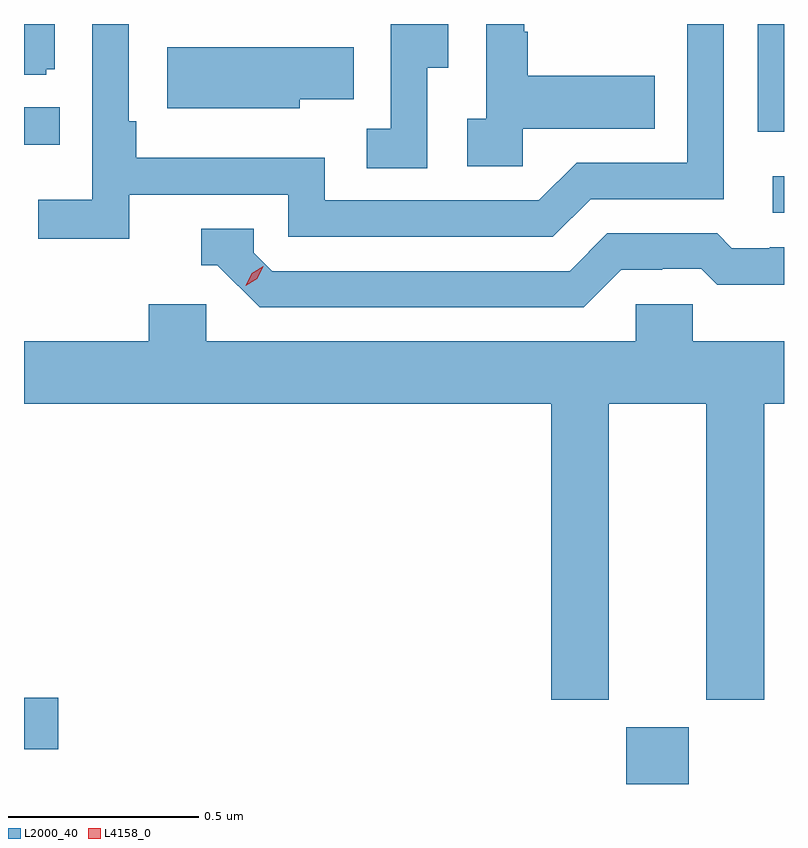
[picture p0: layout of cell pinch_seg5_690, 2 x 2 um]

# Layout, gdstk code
import gdstk
lib = gdstk.Library(unit=1e-6, precision=1e-09)
def R(c, l, rs):  # rectangles x0, y0, x1, y1
    for r in rs: c.add(gdstk.rectangle(r[:2], r[2:], *l))
def P(c, l, *ps):  # polygons
    for p in ps: c.add(gdstk.Polygon(p, *l))
L2000_40 = (2000, 40)
L4158_0 = (4158, 0)

pinch_seg5_690 = lib.new_cell('pinch_seg5_690')
R(pinch_seg5_690, L2000_40, [(1131.152,835.779,1131.316,835.929), (1129.567,835.871,1129.657,836.006), (1131.537,837.282,1131.567,837.378), (1129.567,837.461,1129.661,837.56), (1131.498,837.495,1131.567,837.779)])
P(pinch_seg5_690, L2000_40, [(1129.844,837.33),(1130.262,837.33),(1130.262,837.219),(1130.959,837.219),(1131.058,837.318),(1131.408,837.318),(1131.408,837.779),(1131.312,837.779),(1131.312,837.414),(1131.021,837.414),(1130.922,837.315),(1130.358,837.315),(1130.358,837.427),(1129.862,837.427),(1129.862,837.523),(1129.842,837.523),(1129.842,837.779),(1129.746,837.779),(1129.746,837.316),(1129.605,837.316),(1129.605,837.214),(1129.844,837.214)],
  [(1129.626,837.66),(1129.648,837.66),(1129.648,837.779),(1129.567,837.779),(1129.567,837.645),(1129.626,837.645)],
  [(1130.628,837.664),(1130.683,837.664),(1130.683,837.779),(1130.532,837.779),(1130.532,837.503),(1130.469,837.503),(1130.469,837.4),(1130.628,837.4)],
  [(1130.88,837.503),(1131.227,837.503),(1131.227,837.643),(1130.893,837.643),(1130.893,837.758),(1130.883,837.758),(1130.883,837.779),(1130.784,837.779),(1130.784,837.53),(1130.733,837.53),(1130.733,837.405),(1130.88,837.405)],
  [(1130.292,837.581),(1130.435,837.581),(1130.435,837.718),(1129.944,837.718),(1129.944,837.557),(1130.292,837.557)],
  [(1131.139,837.132),(1131.246,837.132),(1131.246,837.135),(1131.349,837.135),(1131.391,837.093),(1131.567,837.093),(1131.567,837.192),(1131.529,837.192),(1131.529,837.189),(1131.43,837.189),(1131.391,837.228),(1131.102,837.228),(1131.003,837.129),(1130.22,837.129),(1130.172,837.177),(1130.172,837.24),(1130.033,837.24),(1130.033,837.144),(1130.076,837.144),(1130.187,837.033),(1131.04,837.033)],
  [(1131.106,836.78),(1131.362,836.78),(1131.362,836.001),(1131.515,836.001),(1131.515,836.78),(1131.567,836.78),(1131.567,836.944),(1131.327,836.944),(1131.327,837.042),(1131.177,837.042),(1131.177,836.944),(1130.046,836.944),(1130.046,837.042),(1129.895,837.042),(1129.895,836.944),(1129.567,836.944),(1129.567,836.78),(1130.954,836.78),(1130.954,836.001),(1131.106,836.001)])
P(pinch_seg5_690, L4158_0, [(1130.15,837.09),(1130.15,837.09),(1130.166,837.123),(1130.197,837.142),(1130.197,837.142),(1130.197,837.142),(1130.181,837.109),(1130.15,837.09)])

lib.write_gds('pinch_seg5_690.gds')
